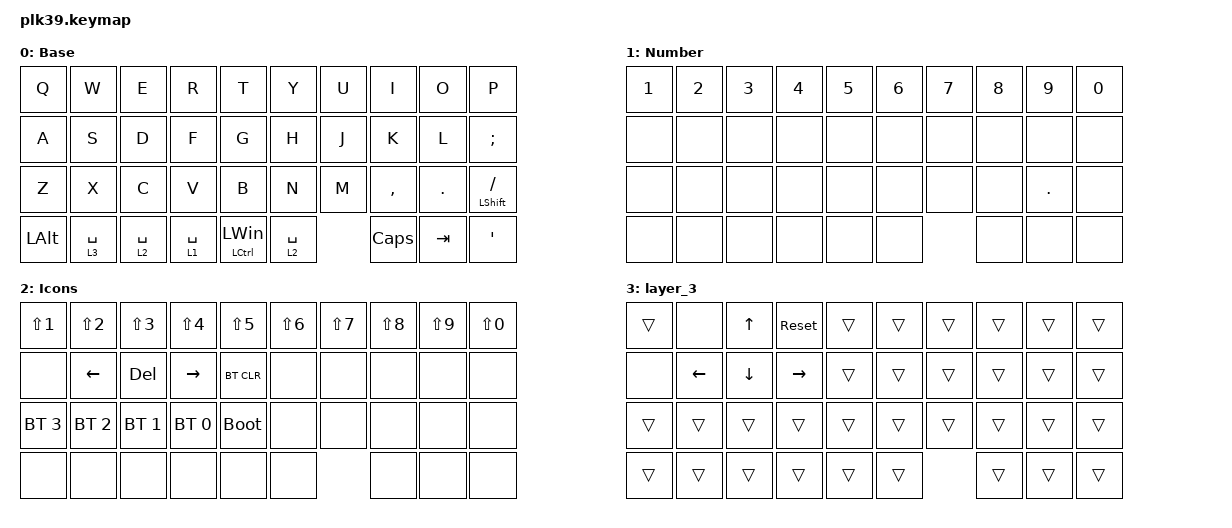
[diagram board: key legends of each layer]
/*
 * Copyright (c) 2020 The ZMK Contributors
 *
 * SPDX-License-Identifier: MIT
 */

#include <behaviors.dtsi>
#include <dt-bindings/zmk/bt.h>
#include <dt-bindings/zmk/keys.h>

/ {
    behaviors {
        tab_esc_ctrl: tab_esc_ctrl {
            compatible = "zmk,behavior-tap-dance";
            label = "TAB_ESC_CTRL";
            #binding-cells = <0>;
            bindings = <&mt LCTRL ESC>, <&kp TAB>;
        };

        gqt: global-quick-tap {
            compatible = "zmk,behavior-hold-tap";
            label = "GLOBAL_QUICK_TAP";
            bindings = <&kp>, <&kp>;

            #binding-cells = <2>;
            quick-tap-ms = <180>;
            tapping-term-ms = <200>;
            global-quick-tap;
            flavor = "tap-preferred";
        };

        ltq: ltq {
            compatible = "zmk,behavior-hold-tap";
            label = "LTQ";
            bindings = <&mo>, <&kp>;

            #binding-cells = <2>;
            global-quick-tap;
            tapping-term-ms = <200>;
            quick-tap-ms = <180>;
            flavor = "tap-preferred";
        };
    };

    combos {
        compatible = "zmk,combos";

        a {
            bindings = <&kp ESC>;
            key-positions = <0 1>;
            timeout-ms = <50>;
        };

        b {
            bindings = <&kp BACKSPACE>;
            key-positions = <8 9>;
            timeout-ms = <50>;
        };

        c {
            bindings = <&kp ENTER>;
            key-positions = <18 19>;
            timeout-ms = <50>;
        };

        d {
            bindings = <&kp MINUS>;
            key-positions = <16 17>;
        };

        e {
            bindings = <&kp EQUAL>;
            key-positions = <17 18>;
        };

        f {
            bindings = <&kp CAPS>;
            key-positions = <11 10>;
        };

        g {
            bindings = <&kp TAB>;
            key-positions = <21 20>;
        };

        h {
            bindings = <&bootloader>;
            key-positions = <24 18>;
        };

        i {
            bindings = <&bt BT_CLR>;
            key-positions = <22 18>;
        };

        j {
            bindings = <&kp LS(N9)>;
            key-positions = <4 3>;
        };

        k {
            bindings = <&kp LS(N0)>;
            key-positions = <6 5>;
        };
    };

    macros {
        KEY: new_macro {
            compatible = "zmk,behavior-macro";
            #binding-cells = <0>;
            bindings = <&kp LS(C) &kp H &kp L &kp DOT &kp N8 &kp N8 &kp N0 &kp N6 &kp N0 &kp N2 &kp EXCL &kp AT &kp POUND &kp DLLR &kp PRCNT &kp CARET &kp ENTER>;
            label = "NEW_MACRO";
        };
    };

    keymap {
        compatible = "zmk,keymap";

        Base {
            label = "Base";
            bindings = <
&kp Q         &kp W        &kp E        &kp R        &kp T               &kp Y        &kp U  &kp I      &kp O    &kp P
&kp A         &kp S        &kp D        &kp F        &kp G               &kp H        &kp J  &kp K      &kp L    &kp SEMICOLON
&kp Z         &kp X        &kp C        &kp V        &kp B               &kp N        &kp M  &kp COMMA  &kp DOT  &mt LEFT_SHIFT SLASH
&kp LEFT_ALT  &lt 3 SPACE  &lt 2 SPACE  &lt 1 SPACE  &mt LCTRL LEFT_WIN  &lt 2 SPACE         &kp CAPS   &kp TAB  &kp SQT
            >;
        };

        Number {
            label = "Number";
            bindings = <
&kp N1  &kp N2  &kp N3  &kp N4  &kp N5  &kp N6  &kp N7  &kp N8  &kp N9      &kp N0
&none   &none   &none   &none   &none   &none   &none   &none   &none       &none
&none   &none   &none   &none   &none   &none   &none   &none   &kp PERIOD  &none
&none   &none   &none   &none   &none   &none           &none   &none       &none
            >;
        };

        Icons {
            label = "Icons";
            bindings = <
&kp LS(N1)    &kp LS(N2)    &kp LS(N3)    &kp LS(N4)    &kp LS(N5)   &kp LS(N6)  &kp LS(N7)  &kp LS(N8)  &kp LS(N9)  &kp LS(N0)
&none         &kp LEFT      &kp DEL       &kp RIGHT     &bt BT_CLR   &none       &none       &none       &none       &none
&bt BT_SEL 3  &bt BT_SEL 2  &bt BT_SEL 1  &bt BT_SEL 0  &bootloader  &none       &none       &none       &none       &none
&none         &none         &none         &none         &none        &none                   &none       &none       &none
            >;
        };

        layer_3 {
            bindings = <
&trans  &none     &kp UP_ARROW    &sys_reset  &trans  &trans  &trans  &trans  &trans  &trans
&none   &kp LEFT  &kp DOWN_ARROW  &kp RIGHT   &trans  &trans  &trans  &trans  &trans  &trans
&trans  &trans    &trans          &trans      &trans  &trans  &trans  &trans  &trans  &trans
&trans  &trans    &trans          &trans      &trans  &trans          &trans  &trans  &trans
            >;
        };
    };
};
